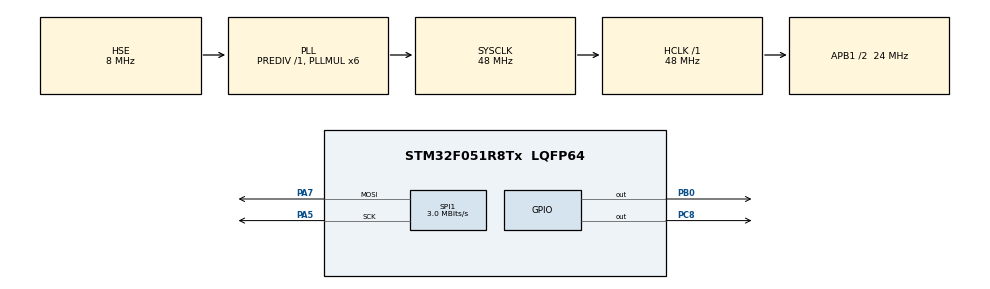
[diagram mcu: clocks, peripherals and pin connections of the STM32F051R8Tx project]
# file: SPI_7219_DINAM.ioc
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Mcu.Family=STM32F0
Mcu.Name=STM32F051R8Tx
Mcu.Package=LQFP64
NVIC.TIM1_BRK_UP_TRG_COM_IRQn=true\:0\:0\:false\:false\:true\:true\:true
NVIC.TIM1_CC_IRQn=true\:0\:0\:false\:false\:true\:true\:true
PA5.Mode=TX_Only_Simplex_Unidirect_Master
PA5.Signal=SPI1_SCK
PA7.Mode=TX_Only_Simplex_Unidirect_Master
PA7.Signal=SPI1_MOSI
PB0.GPIO_Speed=GPIO_SPEED_FREQ_MEDIUM
PB0.Signal=GPIO_Output
PC8.Signal=GPIO_Output
PF0-OSC_IN.Mode=HSE-External-Oscillator
PF0-OSC_IN.Signal=RCC_OSC_IN
PF1-OSC_OUT.Mode=HSE-External-Oscillator
PF1-OSC_OUT.Signal=RCC_OSC_OUT
ProjectManager.HeapSize=0x200
ProjectManager.StackSize=0x400
ProjectManager.TargetToolchain=MDK-ARM V5
RCC.AHBFreq_Value=48000000
RCC.APB1CLKDivider=RCC_HCLK_DIV2
RCC.APB1Freq_Value=24000000
RCC.APB1TimFreq_Value=48000000
RCC.HCLKFreq_Value=48000000
RCC.PLLMUL=RCC_PLL_MUL6
RCC.PLLSourceVirtual=RCC_PLLSOURCE_HSE
RCC.SYSCLKFreq_VALUE=48000000
RCC.SYSCLKSource=RCC_SYSCLKSOURCE_PLLCLK
SPI1.BaudRatePrescaler=SPI_BAUDRATEPRESCALER_8
SPI1.CalculateBaudRate=3.0 MBits/s
SPI1.DataSize=SPI_DATASIZE_16BIT
SPI1.Direction=SPI_DIRECTION_2LINES
SPI1.Mode=SPI_MODE_MASTER
SPI1.VirtualType=VM_MASTER
TIM1.Period=100
TIM1.Prescaler=47999
VP_TIM1_VS_ClockSourceINT.Mode=Internal
board=SPI_7219_DINAM

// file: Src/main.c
/* USER CODE BEGIN Header */
/**
  ******************************************************************************
  * @file           : main.c
  * @brief          : Main program body
  ******************************************************************************
  * @attention
  *
  * <h2><center>&copy; Copyright (c) 2020 STMicroelectronics.
  * All rights reserved.</center></h2>
  *
  * This software component is licensed by ST under BSD 3-Clause license,
  * the "License"; You may not use this file except in compliance with the
  * License. You may obtain a copy of the License at:
  *                        opensource.org/licenses/BSD-3-Clause
  *
  ******************************************************************************
  */
/* USER CODE END Header */

#include "main.h"

/* USER CODE BEGIN Includes */

#include "scroll_demo.h"
#include "delay.h"
#include "ledmatrix.h"
#include "font.h"
#define ARR					8
#define DELAY		10000

/* USER CODE END Includes */

SPI_HandleTypeDef hspi1;

TIM_HandleTypeDef htim1;

/* USER CODE BEGIN PV */
/* Private variables ---------------------------------------------------------*/

/* USER CODE END PV */

void SystemClock_Config(void);
static void MX_GPIO_Init(void);
static void MX_SPI1_Init(void);
static void MX_TIM1_Init(void);
/* USER CODE BEGIN PFP */
/* Private function prototypes -----------------------------------------------*/

/* USER CODE END PFP */

/* USER CODE BEGIN 0 */

uint8_t ScrollBuff[140];

static uint16_t full[] =  {0xFF, 0xFF, 0xFF, 0xFF, 0xFF, 0xFF, 0xFF, 0xFF};
static uint16_t zero[] =  {0x70, 0x88, 0x98, 0xA8, 0xC8, 0x88, 0x70, 0x00};
static uint16_t one[] =   {0x20, 0x60, 0x20, 0x20, 0x20, 0x20, 0x70, 0x00};
static uint16_t two[] =   {0x70, 0x88, 0x08, 0x30, 0x40, 0x80, 0xF8, 0x00};
static uint16_t three[] = {0x70, 0x88, 0x08, 0x30, 0x08, 0x88, 0x70, 0x00};
static uint16_t four[] =  {0x10, 0x30, 0x50, 0x90, 0xF8, 0x10, 0x10, 0x00};
static uint16_t five[] =  {0xF8, 0x80, 0xF0, 0x08, 0x08, 0x88, 0x70, 0x00};
static uint16_t six[] =   {0x30, 0x40, 0x80, 0xF0, 0x88, 0x88, 0x70, 0x00};
static uint16_t seven[] = {0xF8, 0x08, 0x10, 0x20, 0x40, 0x40, 0x40, 0x00};
static uint16_t eigth[] = {0x70, 0x88, 0x88, 0x70, 0x88, 0x88, 0x70, 0x00};
static uint16_t nine[] =  {0x70, 0x88, 0x88, 0x78, 0x08, 0x10, 0x60, 0x00};

int i = 0;

void Send_arr(int str)
{

		switch(str)
    {
			case 0:
				i = 0;
				  while (i < ARR)
					{
							Send_data(i+1, full[i]);
							i++;
					}
					break;
//----------------------------------------------------------------------------------
			case 1:
				i = 0;
				  while (i < ARR)
					{
							Send_data(i+1, zero[i]);
							i++;
					}
					break;
//---------------------------------------------------------------------------------
			case 2:
				i = 0;
				  while (i < ARR)
					{
							Send_data(i+1, one[i]);
							i++;
					}
					break;
//----------------------------------------------------------------------------------
			case 3:
				i = 0;
				  while (i < ARR)
					{
							Send_data(i+1, two[i]);
							i++;
					}
					break;
//----------------------------------------------------------------------------------
			case 4:
				i = 0;
				  while (i < ARR)
					{
							Send_data(i+1, three[i]);
							i++;
					}
					break;
//----------------------------------------------------------------------------------
			case 5:
				i = 0;
				  while (i < ARR)
					{
							Send_data(i+1, four[i]);
							i++;
					}
					break;
//----------------------------------------------------------------------------------
			case 6:
				i = 0;
				  while (i < ARR)
					{
							Send_data(i+1, five[i]);
							i++;
					}
					break;
//----------------------------------------------------------------------------------
			case 7:
				i = 0;
				  while (i < ARR)
					{
							Send_data(i+1, six[i]);
							i++;
					}
					break;
//----------------------------------------------------------------------------------
			case 8:
				i = 0;
				  while (i < ARR)
					{
							Send_data(i+1, seven[i]);
							i++;
					}
					break;
//----------------------------------------------------------------------------------
			case 9:
				i = 0;
				  while (i < ARR)
					{
							Send_data(i+1, eigth[i]);
							i++;
					}
					break;
//----------------------------------------------------------------------------------
			case 10:
				i = 0;
				  while (i < ARR)
					{
							Send_data(i+1, nine[i]);
							i++;
					}
					break;
//----------------------------------------------------------------------------------
				default:
					break;
			}
}

/* USER CODE END 0 */

int main(void)
{

  /* MCU Configuration--------------------------------------------------------*/

  /* Reset of all peripherals, Initializes the Flash interface and the Systick. */
  HAL_Init();

  /* Configure the system clock */
  SystemClock_Config();

  /* Initialize all configured peripherals */
  MX_GPIO_Init();
  MX_SPI1_Init();
  MX_TIM1_Init();
  /* USER CODE BEGIN 2 */
	HAL_TIM_Base_Start_IT(&htim1);
	ledmatrix_init();

  /* USER CODE END 2 */

  /* Infinite loop */
  /* USER CODE BEGIN WHILE */
  while (1)
  {
	  // ¬ключение светодиода

		HAL_GPIO_WritePin(GPIOC, GPIO_PIN_8, GPIO_PIN_SET);

		// ѕолна¤ засветка

		for (int i = 0; i < DELAY; i++)
		{
				Send_arr(0);
		}

		// ‘ормируем буфер дл¤ скролла на матрице с желаемым текстом
    // ƒл¤ форматированного вывода можно также использовать функцию font_printf
    uint16_t ScrollLines = font_printf(ScrollBuff, 100,"HELLO");
    // —кроллим текст по матрице справа налево
		demo_ScrollBuff(ScrollBuff, ScrollLines, 1);

		// «асветка цифр

		for (int k = 1; k < 11; k++)
		{
				for (int i = 0; i < DELAY; i++)
				{
						Send_arr(k);
				}
		}

    /* USER CODE END WHILE */

}
}
void SystemClock_Config(void)
{
  RCC_OscInitTypeDef RCC_OscInitStruct = {0};
  RCC_ClkInitTypeDef RCC_ClkInitStruct = {0};

  /** Initializes the CPU, AHB and APB busses clocks
  */
  RCC_OscInitStruct.OscillatorType = RCC_OSCILLATORTYPE_HSE;
  RCC_OscInitStruct.HSEState = RCC_HSE_ON;
  RCC_OscInitStruct.PLL.PLLState = RCC_PLL_ON;
  RCC_OscInitStruct.PLL.PLLSource = RCC_PLLSOURCE_HSE;
  RCC_OscInitStruct.PLL.PLLMUL = RCC_PLL_MUL6;
  RCC_OscInitStruct.PLL.PREDIV = RCC_PREDIV_DIV1;
  if (HAL_RCC_OscConfig(&RCC_OscInitStruct) != HAL_OK)
  {
    Error_Handler();
  }
  /** Initializes the CPU, AHB and APB busses clocks
  */
  RCC_ClkInitStruct.ClockType = RCC_CLOCKTYPE_HCLK|RCC_CLOCKTYPE_SYSCLK
                              |RCC_CLOCKTYPE_PCLK1;
  RCC_ClkInitStruct.SYSCLKSource = RCC_SYSCLKSOURCE_PLLCLK;
  RCC_ClkInitStruct.AHBCLKDivider = RCC_SYSCLK_DIV1;
  RCC_ClkInitStruct.APB1CLKDivider = RCC_HCLK_DIV2;

  if (HAL_RCC_ClockConfig(&RCC_ClkInitStruct, FLASH_LATENCY_1) != HAL_OK)
  {
    Error_Handler();
  }
}

static void MX_SPI1_Init(void)
{

  /* SPI1 parameter configuration*/
  hspi1.Instance = SPI1;
  hspi1.Init.Mode = SPI_MODE_MASTER;
  hspi1.Init.Direction = SPI_DIRECTION_2LINES;
  hspi1.Init.DataSize = SPI_DATASIZE_16BIT;
  hspi1.Init.CLKPolarity = SPI_POLARITY_LOW;
  hspi1.Init.CLKPhase = SPI_PHASE_1EDGE;
  hspi1.Init.NSS = SPI_NSS_SOFT;
  hspi1.Init.BaudRatePrescaler = SPI_BAUDRATEPRESCALER_8;
  hspi1.Init.FirstBit = SPI_FIRSTBIT_MSB;
  hspi1.Init.TIMode = SPI_TIMODE_DISABLE;
  hspi1.Init.CRCCalculation = SPI_CRCCALCULATION_DISABLE;
  hspi1.Init.CRCPolynomial = 7;
  hspi1.Init.CRCLength = SPI_CRC_LENGTH_DATASIZE;
  hspi1.Init.NSSPMode = SPI_NSS_PULSE_ENABLE;
  if (HAL_SPI_Init(&hspi1) != HAL_OK)
  {
    Error_Handler();
  }

}

static void MX_TIM1_Init(void)
{

  TIM_ClockConfigTypeDef sClockSourceConfig = {0};
  TIM_MasterConfigTypeDef sMasterConfig = {0};

  htim1.Instance = TIM1;
  htim1.Init.Prescaler = 47999;
  htim1.Init.CounterMode = TIM_COUNTERMODE_UP;
  htim1.Init.Period = 100;
  htim1.Init.ClockDivision = TIM_CLOCKDIVISION_DIV1;
  htim1.Init.RepetitionCounter = 0;
  htim1.Init.AutoReloadPreload = TIM_AUTORELOAD_PRELOAD_DISABLE;
  if (HAL_TIM_Base_Init(&htim1) != HAL_OK)
  {
    Error_Handler();
  }
  sClockSourceConfig.ClockSource = TIM_CLOCKSOURCE_INTERNAL;
  if (HAL_TIM_ConfigClockSource(&htim1, &sClockSourceConfig) != HAL_OK)
  {
    Error_Handler();
  }
  sMasterConfig.MasterOutputTrigger = TIM_TRGO_RESET;
  sMasterConfig.MasterSlaveMode = TIM_MASTERSLAVEMODE_DISABLE;
  if (HAL_TIMEx_MasterConfigSynchronization(&htim1, &sMasterConfig) != HAL_OK)
  {
    Error_Handler();
  }

}

static void MX_GPIO_Init(void)
{
  GPIO_InitTypeDef GPIO_InitStruct = {0};

  /* GPIO Ports Clock Enable */
  __HAL_RCC_GPIOF_CLK_ENABLE();
  __HAL_RCC_GPIOA_CLK_ENABLE();
  __HAL_RCC_GPIOB_CLK_ENABLE();
  __HAL_RCC_GPIOC_CLK_ENABLE();

  /*Configure GPIO pin Output Level */
  HAL_GPIO_WritePin(GPIOB, GPIO_PIN_0, GPIO_PIN_RESET);

  /*Configure GPIO pin Output Level */
  HAL_GPIO_WritePin(GPIOC, GPIO_PIN_8, GPIO_PIN_RESET);

  /*Configure GPIO pin : PB0 */
  GPIO_InitStruct.Pin = GPIO_PIN_0;
  GPIO_InitStruct.Mode = GPIO_MODE_OUTPUT_PP;
  GPIO_InitStruct.Pull = GPIO_NOPULL;
  GPIO_InitStruct.Speed = GPIO_SPEED_FREQ_MEDIUM;
  HAL_GPIO_Init(GPIOB, &GPIO_InitStruct);

  /*Configure GPIO pin : PC8 */
  GPIO_InitStruct.Pin = GPIO_PIN_8;
  GPIO_InitStruct.Mode = GPIO_MODE_OUTPUT_PP;
  GPIO_InitStruct.Pull = GPIO_NOPULL;
  GPIO_InitStruct.Speed = GPIO_SPEED_FREQ_LOW;
  HAL_GPIO_Init(GPIOC, &GPIO_InitStruct);

}

/* USER CODE BEGIN 4 */
void HAL_TIM_PeriodElapsedCallback(TIM_HandleTypeDef *htim1)
{

}
/* USER CODE END 4 */

void Error_Handler(void)
{
  while(1)
  {
  }
}

/************************ (C) COPYRIGHT STMicroelectronics *****END OF FILE****/
